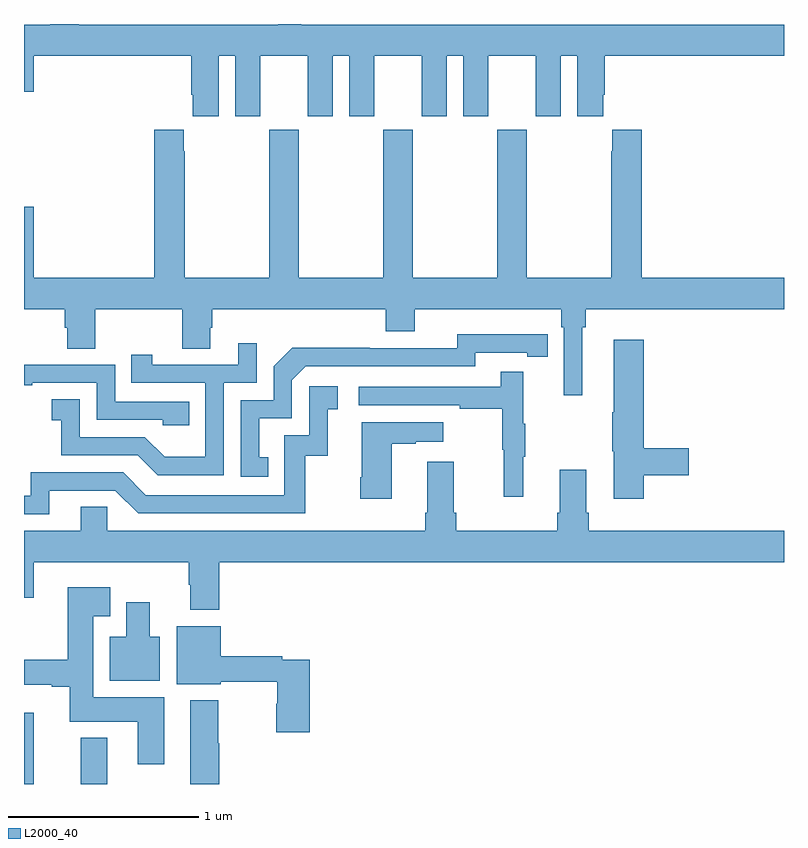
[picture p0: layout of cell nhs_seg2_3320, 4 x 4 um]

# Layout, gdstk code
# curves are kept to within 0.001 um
import gdstk
lib = gdstk.Library(unit=1e-6, precision=1e-09)
def R(c, l, rs):  # rectangles x0, y0, x1, y1
    for r in rs: c.add(gdstk.rectangle(r[:2], r[2:], *l))
def P(c, l, *ps):  # polygons
    for p in ps: c.add(gdstk.Polygon(p, *l))
L2000_40 = (2000, 40)

nhs_seg2_3320 = lib.new_cell('nhs_seg2_3320')
R(nhs_seg2_3320, L2000_40, [(285,647.8,285.052,648.175), (285.299,647.8,285.439,648.043)])
P(nhs_seg2_3320, L2000_40, [(286.024,651.632),(286.112,651.632),(286.112,651.315),(286.243,651.315),(286.243,651.632),(286.493,651.632),(286.493,651.315),(286.624,651.315),(286.624,651.632),(286.712,651.632),(286.712,651.315),(286.843,651.315),(286.843,651.632),(287.093,651.632),(287.093,651.315),(287.224,651.315),(287.224,651.632),(287.312,651.632),(287.312,651.315),(287.443,651.315),(287.443,651.632),(287.693,651.632),(287.693,651.315),(287.824,651.315),(287.824,651.632),(287.912,651.632),(287.912,651.315),(288.049,651.315),(288.049,651.427),(288.056,651.427),(288.056,651.632),(289,651.632),(289,651.796),(286.459,651.796),(286.459,651.8),(286.337,651.8),(286.337,651.796),(285.289,651.796),(285.289,651.8),(285.137,651.8),(285.137,651.796),(285,651.796),(285,651.444),(285.052,651.444),(285.052,651.632),(285.881,651.632),(285.881,651.427),(285.887,651.427),(285.887,651.315),(286.024,651.315)],
  [(287.046,651.244),(286.891,651.244),(286.891,650.464),(286.446,650.464),(286.446,651.244),(286.291,651.244),(286.291,650.464),(285.846,650.464),(285.846,651.131),(285.841,651.131),(285.841,651.244),(285.686,651.244),(285.686,650.464),(285.052,650.464),(285.052,650.839),(285,650.839),(285,650.3),(285.215,650.3),(285.215,650.202),(285.227,650.202),(285.227,650.092),(285.375,650.092),(285.375,650.3),(285.832,650.3),(285.832,650.092),(285.979,650.092),(285.979,650.202),(285.992,650.202),(285.992,650.3),(286.904,650.3),(286.904,650.183),(287.056,650.183),(287.056,650.3),(287.828,650.3),(287.828,650.204),(287.841,650.204),(287.841,649.845),(287.938,649.845),(287.938,650.204),(287.957,650.204),(287.957,650.3),(289,650.3),(289,650.464),(288.251,650.464),(288.251,651.244),(288.095,651.244),(288.095,651.131),(288.091,651.131),(288.091,650.464),(287.646,650.464),(287.646,651.244),(287.491,651.244),(287.491,650.464),(287.046,650.464)],
  [(286.286,649.521),(286.237,649.521),(286.237,649.725),(286.41,649.725),(286.41,649.926),(286.482,649.998),(287.376,649.998),(287.376,650.07),(287.648,650.07),(287.648,650.05),(287.756,650.05),(287.756,650.166),(287.28,650.167),(287.28,650.094),(286.82,650.094),(286.82,650.096),(286.412,650.096),(286.314,649.998),(286.314,649.821),(286.14,649.821),(286.14,649.416),(286.286,649.416)],
  [(288.263,649.426),(288.499,649.426),(288.499,649.568),(288.263,649.568),(288.263,650.137),(288.104,650.137),(288.104,649.757),(288.097,649.757),(288.097,649.551),(288.104,649.551),(288.104,649.302),(288.263,649.302)],
  [(286.05,649.911),(286.224,649.911),(286.224,650.119),(286.127,650.119),(286.127,650.007),(285.676,650.007),(285.676,650.059),(285.565,650.059),(285.565,649.911),(285.954,649.911),(285.954,649.522),(285.74,649.522),(285.636,649.626),(285.294,649.626),(285.294,649.825),(285.147,649.825),(285.147,649.715),(285.196,649.715),(285.196,649.53),(285.599,649.53),(285.704,649.425),(286.05,649.425)],
  [(285.869,649.812),(285.48,649.812),(285.48,650.007),(285,650.007),(285,649.899),(285.043,649.899),(285.043,649.911),(285.384,649.911),(285.384,649.716),(285.729,649.716),(285.729,649.689),(285.869,649.689)],
  [(287.627,649.523),(287.638,649.523),(287.638,649.697),(287.627,649.697),(287.627,649.969),(287.509,649.969),(287.509,649.89),(286.761,649.89),(286.761,649.794),(287.293,649.794),(287.293,649.774),(287.517,649.774),(287.517,649.56),(287.524,649.56),(287.524,649.311),(287.627,649.311)],
  [(285.133,649.344),(285.48,649.344),(285.6,649.224),(286.48,649.224),(286.48,649.527),(286.598,649.527),(286.598,649.773),(286.651,649.773),(286.651,649.894),(286.5,649.894),(286.5,649.635),(286.371,649.635),(286.371,649.32),(285.642,649.32),(285.522,649.44),(285.036,649.44),(285.036,649.317),(285,649.317),(285,649.221),(285.133,649.221)],
  [(286.936,649.591),(287.063,649.591),(287.063,649.601),(287.206,649.601),(287.206,649.705),(286.778,649.705),(286.778,649.414),(286.771,649.414),(286.771,649.302),(286.936,649.302)],
  [(286.028,648.968),(289,648.968),(289,649.132),(287.972,649.132),(287.972,649.228),(287.959,649.228),(287.959,649.453),(287.819,649.453),(287.819,649.228),(287.807,649.228),(287.807,649.132),(287.276,649.132),(287.276,649.228),(287.263,649.228),(287.263,649.495),(287.123,649.495),(287.123,649.228),(287.111,649.228),(287.111,649.132),(285.438,649.132),(285.438,649.259),(285.299,649.259),(285.299,649.132),(285,649.132),(285,648.78),(285.052,648.78),(285.052,648.968),(285.868,648.968),(285.868,648.848),(285.875,648.848),(285.875,648.716),(286.028,648.716)],
  [(285.739,648.256),(285.364,648.256),(285.364,648.683),(285.454,648.683),(285.454,648.835),(285.23,648.835),(285.23,648.453),(285,648.453),(285,648.323),(285.146,648.323),(285.146,648.311),(285.242,648.311),(285.242,648.128),(285.599,648.128),(285.599,647.904),(285.739,647.904)],
  [(285.715,648.574),(285.661,648.574),(285.661,648.757),(285.539,648.757),(285.539,648.574),(285.452,648.574),(285.452,648.344),(285.715,648.344)],
  [(286.505,648.453),(286.358,648.453),(286.358,648.473),(286.036,648.473),(286.036,648.631),(285.803,648.631),(285.803,648.326),(286.036,648.326),(286.036,648.337),(286.334,648.337),(286.334,648.222),(286.327,648.222),(286.327,648.072),(286.505,648.072)],
  [(286.028,648.015),(286.023,648.015),(286.023,648.241),(285.875,648.241),(285.875,647.8),(286.028,647.8)])

lib.write_gds('nhs_seg2_3320.gds')
